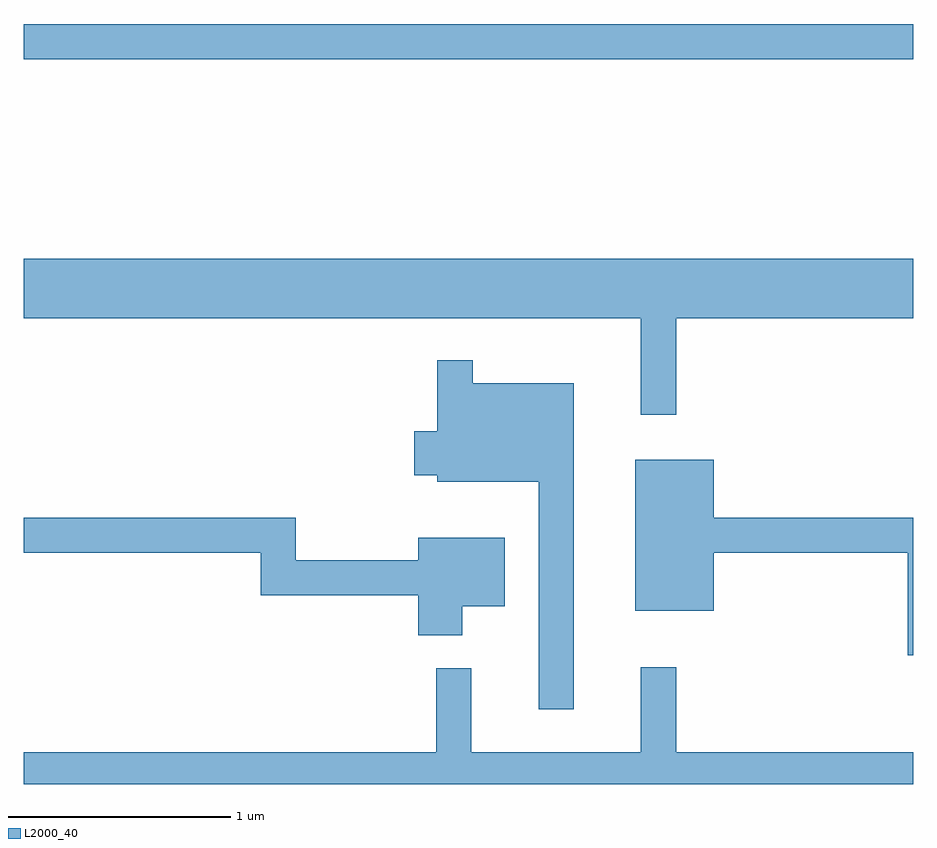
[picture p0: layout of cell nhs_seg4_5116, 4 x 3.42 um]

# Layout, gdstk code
import gdstk
lib = gdstk.Library(unit=1e-6, precision=1e-09)
def R(c, l, rs):  # rectangles x0, y0, x1, y1
    for r in rs: c.add(gdstk.rectangle(r[:2], r[2:], *l))
def P(c, l, *ps):  # polygons
    for p in ps: c.add(gdstk.Polygon(p, *l))
L2000_40 = (2000, 40)

nhs_seg4_5116 = lib.new_cell('nhs_seg4_5116')
R(nhs_seg4_5116, L2000_40, [(335.611,1289.241,339.611,1289.399)])
P(nhs_seg4_5116, L2000_40, [(338.544,1288.076),(339.611,1288.076),(339.611,1288.344),(335.611,1288.344),(335.611,1288.076),(338.386,1288.076),(338.386,1287.643),(338.544,1287.643)],
  [(338.084,1287.784),(337.629,1287.784),(337.629,1287.888),(337.471,1287.888),(337.471,1287.569),(337.366,1287.569),(337.366,1287.371),(337.471,1287.371),(337.471,1287.341),(337.926,1287.341),(337.926,1286.318),(338.084,1286.318)],
  [(339.611,1287.179),(338.714,1287.179),(338.714,1287.439),(338.361,1287.439),(338.361,1286.761),(338.714,1286.761),(338.714,1287.021),(339.586,1287.021),(339.586,1286.561),(339.611,1286.561)],
  [(337.584,1286.781),(337.774,1286.781),(337.774,1287.089),(337.386,1287.089),(337.386,1286.989),(336.834,1286.989),(336.834,1287.179),(335.611,1287.179),(335.611,1287.021),(336.676,1287.021),(336.676,1286.831),(337.386,1286.831),(337.386,1286.651),(337.584,1286.651)],
  [(339.611,1286.124),(338.544,1286.124),(338.544,1286.508),(338.386,1286.508),(338.386,1286.124),(337.624,1286.124),(337.624,1286.503),(337.466,1286.503),(337.466,1286.124),(335.611,1286.124),(335.611,1285.982),(339.611,1285.982)])

lib.write_gds('nhs_seg4_5116.gds')
